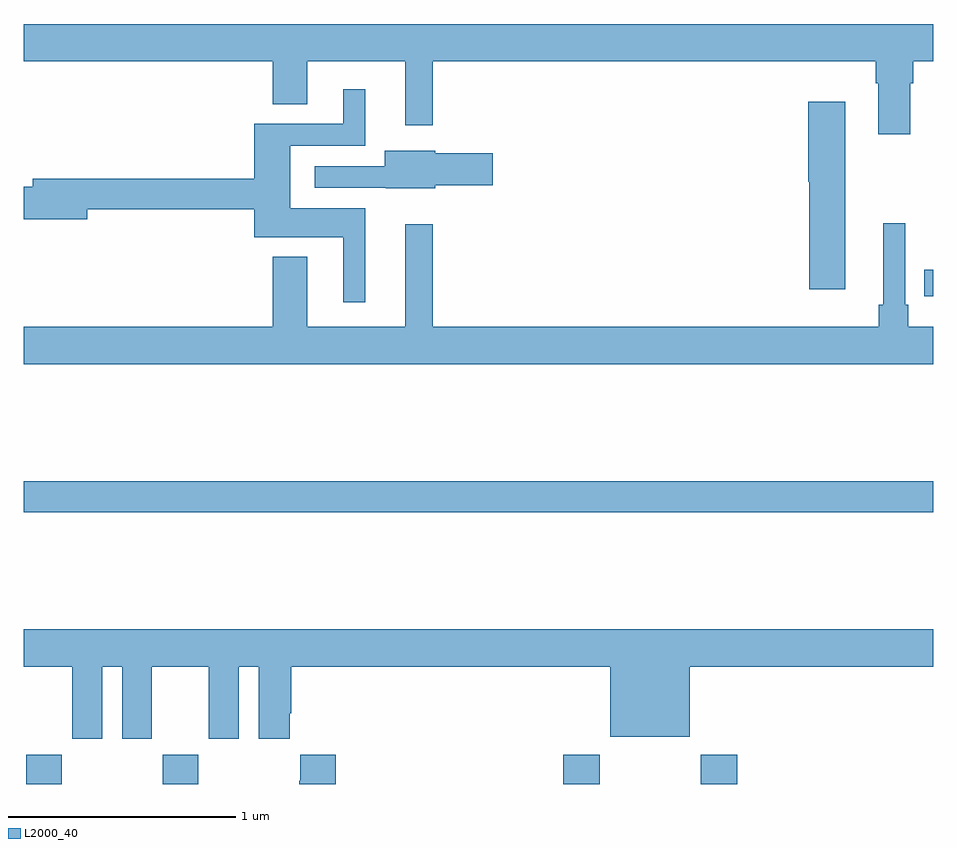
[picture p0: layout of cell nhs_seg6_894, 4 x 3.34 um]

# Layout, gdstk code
import gdstk
lib = gdstk.Library(unit=1e-6, precision=1e-09)
def R(c, l, rs):  # rectangles x0, y0, x1, y1
    for r in rs: c.add(gdstk.rectangle(r[:2], r[2:], *l))
def P(c, l, *ps):  # polygons
    for p in ps: c.add(gdstk.Polygon(p, *l))
L2000_40 = (2000, 40)

nhs_seg6_894 = lib.new_cell('nhs_seg6_894')
R(nhs_seg6_894, L2000_40, [(167.011,933.5,167.166,933.628), (167.611,933.5,167.766,933.628), (169.373,933.5,169.533,933.628), (169.978,933.5,170.138,933.628), (167,934.696,171,934.832), (170.962,935.646,171,935.762)])
P(nhs_seg6_894, L2000_40, [(170.899,936.584),(170.912,936.584),(170.912,936.68),(171,936.68),(171,936.844),(167,936.844),(167,936.68),(168.095,936.68),(168.095,936.49),(168.247,936.49),(168.247,936.68),(168.677,936.68),(168.677,936.399),(168.799,936.399),(168.799,936.68),(170.747,936.68),(170.747,936.584),(170.759,936.584),(170.759,936.36),(170.899,936.36)],
  [(168.502,936.034),(168.172,936.034),(168.172,936.309),(168.502,936.309),(168.502,936.556),(168.404,936.556),(168.404,936.405),(168.014,936.405),(168.014,936.164),(167.039,936.164),(167.039,936.128),(167,936.128),(167,935.986),(167.278,935.986),(167.278,936.028),(168.014,936.028),(168.014,935.906),(168.404,935.906),(168.404,935.619),(168.502,935.619)],
  [(170.614,936.502),(170.45,936.502),(170.45,936.15),(170.456,936.15),(170.456,935.676),(170.614,935.676)],
  [(168.81,936.134),(169.063,936.134),(169.063,936.276),(168.81,936.276),(168.81,936.286),(168.587,936.286),(168.587,936.219),(168.279,936.219),(168.279,936.123),(168.591,936.123),(168.591,936.122),(168.81,936.122)],
  [(171,935.512),(170.891,935.512),(170.891,935.608),(170.877,935.608),(170.877,935.968),(170.78,935.968),(170.78,935.608),(170.761,935.608),(170.761,935.512),(168.799,935.512),(168.799,935.962),(168.677,935.962),(168.677,935.512),(168.247,935.512),(168.247,935.821),(168.095,935.821),(168.095,935.512),(167,935.512),(167,935.348),(171,935.348)],
  [(167.344,934.016),(167.432,934.016),(167.432,933.699),(167.563,933.699),(167.563,934.016),(167.813,934.016),(167.813,933.699),(167.944,933.699),(167.944,934.016),(168.032,934.016),(168.032,933.699),(168.169,933.699),(168.169,933.811),(168.176,933.811),(168.176,934.016),(169.58,934.016),(169.58,933.707),(169.93,933.707),(169.93,934.016),(171,934.016),(171,934.18),(167,934.18),(167,934.016),(167.213,934.016),(167.213,933.699),(167.344,933.699)],
  [(168.371,933.628),(168.215,933.628),(168.215,933.515),(168.211,933.515),(168.211,933.5),(168.371,933.5)])

lib.write_gds('nhs_seg6_894.gds')
